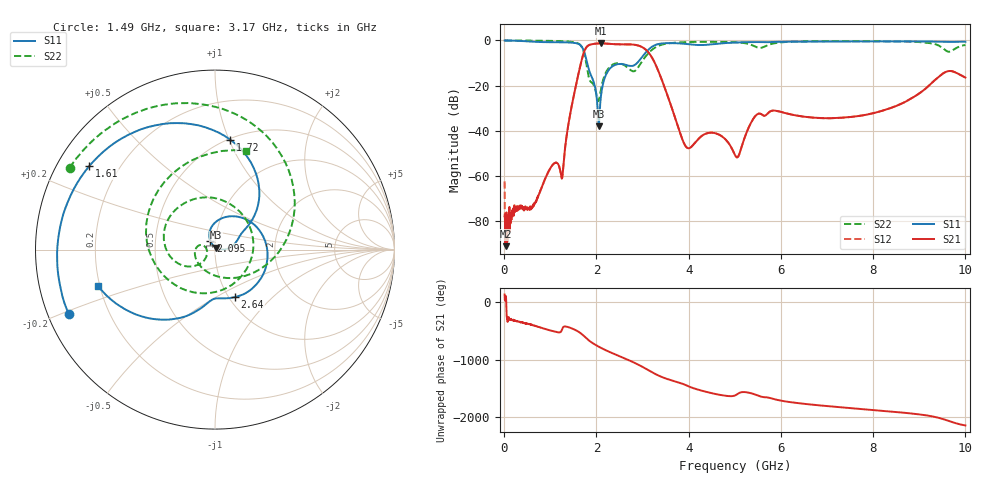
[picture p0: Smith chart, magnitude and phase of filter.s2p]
! Mini-Circuits
! S2P DATA File Format
! Type: BAND PASS FILTER
! Model: VBFZ-2340-S+
! All S Parameters are in dB deg format
! TEST CONDITIONS: INPUT POWER = 0 dBm @ Temperature = + 25 deg C
! 949 Frequency points
# MHz S dB R 50
!Frequency  S11 dB  S11 DEG  S21 dB  S21 DEG  S12 dB  S12 DEG  S22 dB  S22 DEG
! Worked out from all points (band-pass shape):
!   949 points, 10 MHz to 10 GHz, reference 50 ohm
!   highest |S21| = -1.28 dB at 2.09 GHz (marker M1); lowest = -91.2 dB at 30 MHz (marker M2)
!   |S21| within 3 dB of the highest: 1.749 GHz to 3.083 GHz (1.334 GHz wide, 55.2 % of centre)
!   lowest |S11| = -38.1 dB at 2.05 GHz (marker M3), VSWR 1.03, Z = 50.7 + j1.02 ohm
!   |S11| at or under -10 dB: 1.8 GHz to 2.882 GHz (1.081 GHz wide, 46.2 % of centre)
!   |S22| runs from -26.9 to 0.0 dB; largest |S21 - S12| = 0.001
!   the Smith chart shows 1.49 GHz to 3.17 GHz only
!   S11 on the Smith chart (normalised r, x): 1.49 GHz: 0.06, -0.21; 1.61 GHz: 0.09, +0.30; 1.72 GHz: 0.51, +1.01; 2.095 GHz: 0.95, +0.09; 2.64 GHz: 1.07, -0.62; 3.17 GHz: 0.19, -0.15
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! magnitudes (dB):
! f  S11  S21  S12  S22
! 10 MHz  0.0  -78.0  -62.5  0.0
! 30 MHz  0.0  -91.2  -91.1  0.0
! 605 MHz  -0.5  -74.4  -74.3  -0.1
! 1.085 GHz  -0.8  -54.5  -54.5  -0.2
! 1.255 GHz  -0.8  -61.1  -61.1  -0.3
! 1.49 GHz  -1.0  -26.5  -26.5  -0.6
! 1.61 GHz  -1.5  -14.9  -14.9  -1.3
! 1.675 GHz  -2.5  -9.1  -9.1  -2.6
! 1.72 GHz  -4.2  -5.9  -5.9  -4.7
! 2.05 GHz  -38.1  -1.3  -1.3  -26.7
! 2.09 GHz  -26.4  -1.3  -1.3  -22.5
! 2.095 GHz  -25.4  -1.3  -1.3  -22.0
! 2.64 GHz  -10.8  -1.7  -1.7  -11.5
! 3.17 GHz  -3.3  -6.4  -6.4  -4.8
! 3.34 GHz  -1.6  -13.4  -13.4  -2.4
! 3.95 GHz  -1.5  -47.3  -47.3  -0.7
! 4.54 GHz  -1.6  -41.0  -41.0  -0.6
! 5.025 GHz  -0.9  -51.5  -51.5  -0.8
! 5.5 GHz  -0.7  -32.6  -32.6  -3.2
! 6.675 GHz  -0.5  -34.2  -34.2  -0.4
! 8.35 GHz  -0.4  -30.2  -30.2  -0.4
! 10 GHz  -0.5  -16.4  -16.4  -2.0
